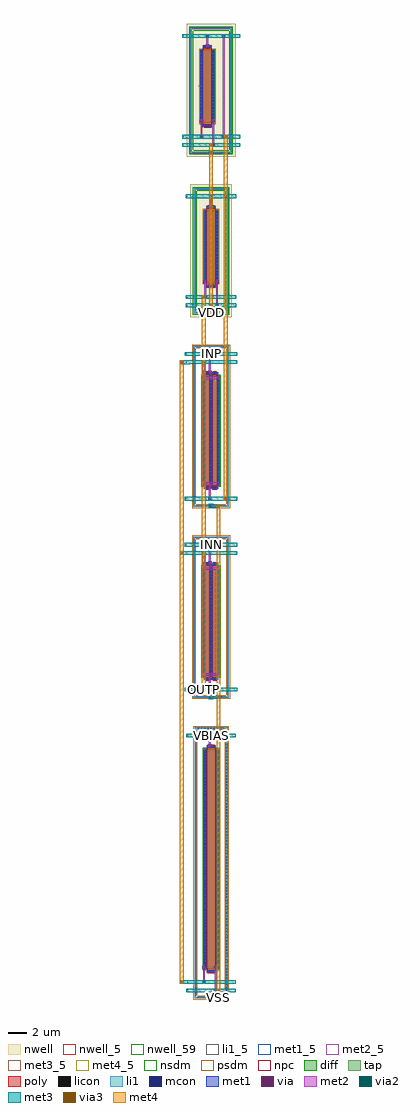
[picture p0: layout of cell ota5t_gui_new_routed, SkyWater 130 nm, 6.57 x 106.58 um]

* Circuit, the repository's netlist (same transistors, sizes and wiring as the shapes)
* Extracted by KLayout with SKY130 LVS runset on : 04/11/2026 18:48

.SUBCKT ota5t_gui_new_routed INN INP OUTP VBIAS VDD VSS sky130_gnd
M$1 \$20 \$20 VDD VDD sky130_fd_pr__pfet_01v8 L=1 W=8 AS=2.32 AD=2.32 PS=16.58
+ PD=16.58
M$2 OUTP \$20 VDD VDD sky130_fd_pr__pfet_01v8 L=1 W=8 AS=2.32 AD=2.32 PS=16.58
+ PD=16.58
M$3 \$4 INP \$20 sky130_gnd sky130_fd_pr__nfet_01v8 L=0.5 W=12 AS=3.48 AD=1.74
+ PS=24.58 PD=12.29
M$4 \$20 INP \$4 sky130_gnd sky130_fd_pr__nfet_01v8 L=0.5 W=12 AS=1.74 AD=3.48
+ PS=12.29 PD=24.58
M$5 \$4 INN OUTP sky130_gnd sky130_fd_pr__nfet_01v8 L=0.5 W=12 AS=3.48 AD=1.74
+ PS=24.58 PD=12.29
M$6 OUTP INN \$4 sky130_gnd sky130_fd_pr__nfet_01v8 L=0.5 W=12 AS=1.74 AD=3.48
+ PS=12.29 PD=24.58
M$7 \$4 VBIAS VSS sky130_gnd sky130_fd_pr__nfet_01v8 L=1 W=24 AS=6.96 AD=6.96
+ PS=48.58 PD=48.58
.ENDS ota5t_gui_new_routed

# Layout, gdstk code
import gdstk
lib = gdstk.Library(unit=1e-6, precision=1e-09)
def R(c, l, rs):  # rectangles x0, y0, x1, y1
    for r in rs: c.add(gdstk.rectangle(r[:2], r[2:], *l))
def A(c, l, x, y, w, h, nx, ny, dx, dy):  # array of equal rectangles
    R(c, l, [(x+i*dx, y+j*dy, x+i*dx+w, y+j*dy+h) for i in range(nx) for j in range(ny)])
nwell_5 = (64, 5)
nwell = (64, 20)
nwell_59 = (64, 59)
diff = (65, 20)
tap = (65, 44)
poly = (66, 20)
licon = (66, 44)
li1_5 = (67, 5)
li1 = (67, 20)
mcon = (67, 44)
met1_5 = (68, 5)
met1 = (68, 20)
via = (68, 44)
met2_5 = (69, 5)
met2 = (69, 20)
via2 = (69, 44)
met3_5 = (70, 5)
met3 = (70, 20)
via3 = (70, 44)
met4_5 = (71, 5)
met4 = (71, 20)
nsdm = (93, 44)
psdm = (94, 20)
npc = (95, 20)

sky130_fd_pr__nfet_01v8_ = lib.new_cell('sky130_fd_pr__nfet_01v8_5VM7HL')
R(sky130_fd_pr__nfet_01v8_, diff, [(-0.79,-12,0.79,12)])
R(sky130_fd_pr__nfet_01v8_, poly, [(-0.5,-12.44,0.5,12.44)])
A(sky130_fd_pr__nfet_01v8_, licon, -0.73, -11.815, 0.17, 0.17, 1, 70, 0, 0.34)
A(sky130_fd_pr__nfet_01v8_, licon, 0.56, -11.815, 0.17, 0.17, 1, 70, 0, 0.34)
R(sky130_fd_pr__nfet_01v8_, licon, [(-0.255,-12.36,-0.085,-12.19), (0.085,-12.36,0.255,-12.19), (-0.255,12.19,-0.085,12.36), (0.085,12.19,0.255,12.36)])
R(sky130_fd_pr__nfet_01v8_, li1, [(-0.5,-12.36,0.5,-12.19), (-0.73,-12.02,-0.56,12.02), (0.56,-12.02,0.73,12.02), (-0.5,12.19,0.5,12.36)])
A(sky130_fd_pr__nfet_01v8_, mcon, -0.73, -11.785, 0.17, 0.17, 1, 66, 0, 0.36)
A(sky130_fd_pr__nfet_01v8_, mcon, 0.56, -11.785, 0.17, 0.17, 1, 66, 0, 0.36)
R(sky130_fd_pr__nfet_01v8_, mcon, [(-0.265,-12.36,-0.095,-12.19), (0.095,-12.36,0.265,-12.19), (-0.265,12.19,-0.095,12.36), (0.095,12.19,0.265,12.36)])
R(sky130_fd_pr__nfet_01v8_, met1, [(-0.48,-12.39,0.48,-12.16), (-0.76,-12,-0.53,12), (0.53,-12,0.76,12), (-0.48,12.16,0.48,12.39)])
R(sky130_fd_pr__nfet_01v8_, nsdm, [(-0.915,-12.125,0.915,12.125)])
R(sky130_fd_pr__nfet_01v8_, npc, [(-0.355,-12.46,0.355,-12.09), (-0.355,12.09,0.355,12.46)])
sky130_fd_pr__nfet_01v8_.add(gdstk.Label('D', (-0.645,0), layer=67, texttype=5))
sky130_fd_pr__nfet_01v8_.add(gdstk.Label('S', (0.645,0), layer=67, texttype=5))
sky130_fd_pr__nfet_01v8_.add(gdstk.Label('G', (0,12.275), layer=67, texttype=5))

nfet_01v8_w24_l1_m1__nf1 = lib.new_cell('nfet_01v8_W24_L1_m1__nf1_gboth_sdfull_ng')
R(nfet_01v8_w24_l1_m1__nf1, nwell_59, [(0.05,12.39,0.15,12.49)])
R(nfet_01v8_w24_l1_m1__nf1, met1_5, [(0.03,12.44,0.26,12.64), (1.32,12.44,1.55,12.64), (0.31,24.6,1.27,24.83)])
R(nfet_01v8_w24_l1_m1__nf1, met1, [(0.03,12.44,0.26,12.64), (1.32,12.44,1.55,12.64), (0.31,24.6,1.27,24.83)])
nfet_01v8_w24_l1_m1__nf1.add(gdstk.Reference(sky130_fd_pr__nfet_01v8_, (0.79,12.44)))
nfet_01v8_w24_l1_m1__nf1.add(gdstk.Label('D', (0.145,12.54), layer=68, texttype=5))
nfet_01v8_w24_l1_m1__nf1.add(gdstk.Label('S', (1.435,12.54), layer=68, texttype=5))
nfet_01v8_w24_l1_m1__nf1.add(gdstk.Label('G', (0.79,24.715), layer=68, texttype=5))
nfet_01v8_w24_l1_m1__nf1.add(gdstk.Label('B', (0.1,12.44), layer=64, texttype=59))

xm5__a = lib.new_cell('XM5__A')
R(xm5__a, tap, [(-0.885,-2.785,2.715,-2.615), (-0.885,-2.615,-0.715,26.635), (2.545,-2.615,2.715,26.635), (-0.885,26.635,2.715,26.805)])
A(xm5__a, licon, -0.53, -2.785, 0.17, 0.17, 9, 2, 0.34, 29.42)
A(xm5__a, licon, -0.885, -2.355, 0.17, 0.17, 1, 85, 0, 0.34)
A(xm5__a, licon, 2.545, -2.355, 0.17, 0.17, 1, 85, 0, 0.34)
R(xm5__a, li1_5, [(0.865,-2.75,0.965,-2.65)])
R(xm5__a, li1, [(-0.885,-2.785,2.715,-2.615), (-0.885,-2.615,-0.715,26.635), (2.545,-2.615,2.715,26.635), (-0.885,26.635,2.715,26.805)])
R(xm5__a, met1, [(-0.035,0.44,0.325,0.8), (1.255,0.44,1.615,0.8), (0.61,24.63,0.97,24.99)])
R(xm5__a, via, [(0.07,0.545,0.22,0.695), (1.36,0.545,1.51,0.695), (0.715,24.735,0.865,24.885)])
R(xm5__a, met2, [(1.235,-2.1,1.635,-1.7), (1.335,-1.7,1.535,0.46), (-0.055,-1.2,0.345,-0.8), (0.045,-0.8,0.245,0.46), (0.015,0.46,0.275,0.78), (1.305,0.46,1.565,0.78), (0.66,24.65,0.92,24.97), (0.69,24.97,0.89,25.72), (0.59,25.72,0.99,26.12)])
R(xm5__a, via2, [(1.335,-2,1.535,-1.8), (0.045,-1.1,0.245,-0.9), (0.69,25.82,0.89,26.02)])
R(xm5__a, met3_5, [(-1.7,-1.95,-1.6,-1.85), (-1.7,-1.05,-1.6,-0.95), (-1.7,25.87,-1.6,25.97)])
R(xm5__a, met3, [(-1.8,-2.1,3.63,-1.7), (-1.8,-1.2,3.63,-0.8), (-1.8,25.72,3.63,26.12)])
R(xm5__a, psdm, [(-1.01,-2.91,2.84,-2.49), (-1.01,-2.49,-0.59,26.51), (2.42,-2.49,2.84,26.51), (-1.01,26.51,2.84,26.93)])
xm5__a.add(gdstk.Reference(nfet_01v8_w24_l1_m1__nf1, (0.13,0)))
xm5__a.add(gdstk.Label('net2', (-1.65,25.92), layer=70, texttype=5))
xm5__a.add(gdstk.Label('net1', (-1.65,-1), layer=70, texttype=5))
xm5__a.add(gdstk.Label('VSS', (-1.65,-1.9), layer=70, texttype=5))
xm5__a.add(gdstk.Label('VSS_body', (0.915,-2.7), layer=67, texttype=5))

c_sky130_fd_pr__nfet_01v8_ = lib.new_cell('sky130_fd_pr__nfet_01v8_BXZS2L')
R(c_sky130_fd_pr__nfet_01v8_, diff, [(-0.935,-6,0.935,6)])
R(c_sky130_fd_pr__nfet_01v8_, poly, [(-0.645,-6.44,-0.145,6.44), (0.145,-6.44,0.645,6.44)])
A(c_sky130_fd_pr__nfet_01v8_, licon, -0.875, -5.865, 0.17, 0.17, 3, 35, 0.79, 0.34)
R(c_sky130_fd_pr__nfet_01v8_, licon, [(-0.48,-6.36,-0.31,-6.19), (0.31,-6.36,0.48,-6.19), (-0.48,6.19,-0.31,6.36), (0.31,6.19,0.48,6.36)])
A(c_sky130_fd_pr__nfet_01v8_, li1, -0.875, -6.02, 0.17, 12.04, 3, 1, 0.79, 0)
R(c_sky130_fd_pr__nfet_01v8_, li1, [(-0.79,-6.36,0.79,-6.19), (-0.79,6.19,0.79,6.36)])
A(c_sky130_fd_pr__nfet_01v8_, mcon, -0.875, -5.845, 0.17, 0.17, 3, 33, 0.79, 0.36)
R(c_sky130_fd_pr__nfet_01v8_, mcon, [(-0.48,-6.36,-0.31,-6.19), (0.31,-6.36,0.48,-6.19), (-0.48,6.19,-0.31,6.36), (0.31,6.19,0.48,6.36)])
A(c_sky130_fd_pr__nfet_01v8_, met1, -0.905, -6, 0.23, 12, 3, 1, 0.79, 0)
R(c_sky130_fd_pr__nfet_01v8_, met1, [(-0.625,-6.39,-0.165,-6.36), (0.165,-6.39,0.625,-6.36), (-0.79,-6.36,0.79,-6.19), (-0.625,-6.19,-0.165,-6.16), (0.165,-6.19,0.625,-6.16), (-0.625,6.16,-0.165,6.19), (0.165,6.16,0.625,6.19), (-0.79,6.19,0.79,6.36), (-0.625,6.36,-0.165,6.39), (0.165,6.36,0.625,6.39)])
R(c_sky130_fd_pr__nfet_01v8_, nsdm, [(-1.06,-6.125,1.06,6.125)])
R(c_sky130_fd_pr__nfet_01v8_, npc, [(-0.58,-6.46,-0.21,-6.09), (0.21,-6.46,0.58,-6.09), (-0.58,6.09,-0.21,6.46), (0.21,6.09,0.58,6.46)])
c_sky130_fd_pr__nfet_01v8_.add(gdstk.Label('D0', (-0.79,0), layer=67, texttype=5))
c_sky130_fd_pr__nfet_01v8_.add(gdstk.Label('G', (0.395,6.275), layer=67, texttype=5))
c_sky130_fd_pr__nfet_01v8_.add(gdstk.Label('G', (-0.395,6.275), layer=67, texttype=5))
c_sky130_fd_pr__nfet_01v8_.add(gdstk.Label('S1', (0,0), layer=67, texttype=5))

nfet_01v8_w24_l0p5_m1__n = lib.new_cell('nfet_01v8_W24_L0p5_m1__nf2_gboth_sdfull_outS_ng')
R(nfet_01v8_w24_l0p5_m1__n, nwell_59, [(0.05,6.39,0.15,6.49)])
R(nfet_01v8_w24_l0p5_m1__n, met1_5, [(0.145,12.6,1.725,12.83)])
R(nfet_01v8_w24_l0p5_m1__n, met1, [(0.805,0.49,1.065,0.81), (0.015,12.07,0.275,12.39), (1.595,12.07,1.855,12.39), (0.145,12.6,1.725,12.83)])
R(nfet_01v8_w24_l0p5_m1__n, via, [(0.86,0.575,1.01,0.725), (0.07,12.155,0.22,12.305), (1.65,12.155,1.8,12.305)])
R(nfet_01v8_w24_l0p5_m1__n, met2_5, [(0.01,0.49,1.86,0.81), (0.01,12.07,1.86,12.39)])
R(nfet_01v8_w24_l0p5_m1__n, met2, [(0.01,0.49,1.86,0.81), (0.01,12.07,1.86,12.39)])
nfet_01v8_w24_l0p5_m1__n.add(gdstk.Reference(c_sky130_fd_pr__nfet_01v8_, (0.935,6.44)))
nfet_01v8_w24_l0p5_m1__n.add(gdstk.Label('S', (0.935,12.23), layer=69, texttype=5))
nfet_01v8_w24_l0p5_m1__n.add(gdstk.Label('D', (0.935,0.65), layer=69, texttype=5))
nfet_01v8_w24_l0p5_m1__n.add(gdstk.Label('G', (0.935,12.715), layer=68, texttype=5))
nfet_01v8_w24_l0p5_m1__n.add(gdstk.Label('B', (0.1,6.44), layer=64, texttype=59))

xm2__a = lib.new_cell('XM2__A')
R(xm2__a, tap, [(-0.885,-1.885,3.005,-1.715), (-0.885,-1.715,-0.715,15.535), (2.835,-1.715,3.005,15.535), (-0.885,15.535,3.005,15.705)])
A(xm2__a, licon, -0.555, -1.885, 0.17, 0.17, 10, 2, 0.34, 17.42)
A(xm2__a, licon, -0.885, -1.505, 0.17, 0.17, 1, 50, 0, 0.34)
A(xm2__a, licon, 2.835, -1.505, 0.17, 0.17, 1, 50, 0, 0.34)
R(xm2__a, li1_5, [(1.01,-1.85,1.11,-1.75)])
R(xm2__a, li1, [(-0.885,-1.885,3.005,-1.715), (-0.885,-1.715,-0.715,15.535), (2.835,-1.715,3.005,15.535), (-0.885,15.535,3.005,15.705)])
R(xm2__a, met1, [(0.755,12.63,1.115,12.99)])
R(xm2__a, via, [(0.86,12.735,1.01,12.885)])
R(xm2__a, met2, [(0.735,-1.2,1.135,-0.8), (0.835,-0.8,1.035,0.59), (0.17,12.29,0.37,13.72), (0.805,12.65,1.065,12.97), (0.835,12.97,1.035,14.62), (0.07,13.72,0.47,14.12), (0.735,14.62,1.135,15.02)])
R(xm2__a, via2, [(0.835,-1.1,1.035,-0.9), (0.17,13.82,0.37,14.02), (0.835,14.72,1.035,14.92)])
R(xm2__a, met3_5, [(-1.7,-1.05,-1.6,-0.95), (-1.7,13.87,-1.6,13.97), (-1.7,14.77,-1.6,14.87)])
R(xm2__a, met3, [(-1.8,-1.2,3.92,-0.8), (-1.8,13.72,3.92,14.12), (-1.8,14.62,3.92,15.02)])
R(xm2__a, psdm, [(-1.01,-2.01,3.13,-1.59), (-1.01,-1.59,-0.59,15.41), (2.71,-1.59,3.13,15.41), (-1.01,15.41,3.13,15.83)])
xm2__a.add(gdstk.Reference(nfet_01v8_w24_l0p5_m1__n, (0.13,0)))
xm2__a.add(gdstk.Label('net1', (-1.65,13.92), layer=70, texttype=5))
xm2__a.add(gdstk.Label('INN', (-1.65,14.82), layer=70, texttype=5))
xm2__a.add(gdstk.Label('OUTP', (-1.65,-1), layer=70, texttype=5))
xm2__a.add(gdstk.Label('VSS_body', (1.06,-1.8), layer=67, texttype=5))

xm1__a = lib.new_cell('XM1__A')
R(xm1__a, tap, [(-0.885,-1.885,3.005,-1.715), (-0.885,-1.715,-0.715,15.535), (2.835,-1.715,3.005,15.535), (-0.885,15.535,3.005,15.705)])
A(xm1__a, licon, -0.555, -1.885, 0.17, 0.17, 10, 2, 0.34, 17.42)
A(xm1__a, licon, -0.885, -1.505, 0.17, 0.17, 1, 50, 0, 0.34)
A(xm1__a, licon, 2.835, -1.505, 0.17, 0.17, 1, 50, 0, 0.34)
R(xm1__a, li1_5, [(1.01,-1.85,1.11,-1.75)])
R(xm1__a, li1, [(-0.885,-1.885,3.005,-1.715), (-0.885,-1.715,-0.715,15.535), (2.835,-1.715,3.005,15.535), (-0.885,15.535,3.005,15.705)])
R(xm1__a, met1, [(0.755,12.63,1.115,12.99)])
R(xm1__a, via, [(0.86,12.735,1.01,12.885)])
R(xm1__a, met2, [(0.735,-1.2,1.135,-0.8), (0.835,-0.8,1.035,0.59), (0.17,12.29,0.37,13.72), (0.805,12.65,1.065,12.97), (0.835,12.97,1.035,14.62), (0.07,13.72,0.47,14.12), (0.735,14.62,1.135,15.02)])
R(xm1__a, via2, [(0.835,-1.1,1.035,-0.9), (0.17,13.82,0.37,14.02), (0.835,14.72,1.035,14.92)])
R(xm1__a, met3_5, [(-1.7,-1.05,-1.6,-0.95), (-1.7,13.87,-1.6,13.97), (-1.7,14.77,-1.6,14.87)])
R(xm1__a, met3, [(-1.8,-1.2,3.92,-0.8), (-1.8,13.72,3.92,14.12), (-1.8,14.62,3.92,15.02)])
R(xm1__a, psdm, [(-1.01,-2.01,3.13,-1.59), (-1.01,-1.59,-0.59,15.41), (2.71,-1.59,3.13,15.41), (-1.01,15.41,3.13,15.83)])
xm1__a.add(gdstk.Reference(nfet_01v8_w24_l0p5_m1__n, (0.13,0)))
xm1__a.add(gdstk.Label('net1', (-1.65,13.92), layer=70, texttype=5))
xm1__a.add(gdstk.Label('INP', (-1.65,14.82), layer=70, texttype=5))
xm1__a.add(gdstk.Label('net3', (-1.65,-1), layer=70, texttype=5))
xm1__a.add(gdstk.Label('VSS_body', (1.06,-1.8), layer=67, texttype=5))

sky130_fd_pr__pfet_01v8_ = lib.new_cell('sky130_fd_pr__pfet_01v8_8HDVAE')
R(sky130_fd_pr__pfet_01v8_, nwell, [(-0.97,-4.5,0.97,4.5)])
R(sky130_fd_pr__pfet_01v8_, diff, [(-0.79,-4,0.79,4)])
R(sky130_fd_pr__pfet_01v8_, poly, [(-0.5,-4.485,0.5,4.485)])
A(sky130_fd_pr__pfet_01v8_, licon, -0.73, -3.825, 0.17, 0.17, 1, 23, 0, 0.34)
A(sky130_fd_pr__pfet_01v8_, licon, 0.56, -3.825, 0.17, 0.17, 1, 23, 0, 0.34)
R(sky130_fd_pr__pfet_01v8_, licon, [(-0.255,-4.405,-0.085,-4.235), (0.085,-4.405,0.255,-4.235), (-0.255,4.235,-0.085,4.405), (0.085,4.235,0.255,4.405)])
R(sky130_fd_pr__pfet_01v8_, li1, [(-0.5,-4.405,0.5,-4.235), (-0.73,-4.02,-0.56,4.02), (0.56,-4.02,0.73,4.02), (-0.5,4.235,0.5,4.405)])
A(sky130_fd_pr__pfet_01v8_, mcon, -0.73, -3.865, 0.17, 0.17, 1, 22, 0, 0.36)
A(sky130_fd_pr__pfet_01v8_, mcon, 0.56, -3.865, 0.17, 0.17, 1, 22, 0, 0.36)
R(sky130_fd_pr__pfet_01v8_, mcon, [(-0.265,-4.405,-0.095,-4.235), (0.095,-4.405,0.265,-4.235), (-0.265,4.235,-0.095,4.405), (0.095,4.235,0.265,4.405)])
R(sky130_fd_pr__pfet_01v8_, met1, [(-0.48,-4.435,0.48,-4.205), (-0.76,-4,-0.53,4), (0.53,-4,0.76,4), (-0.48,4.205,0.48,4.435)])
R(sky130_fd_pr__pfet_01v8_, psdm, [(-0.915,-4.125,0.915,4.125)])
R(sky130_fd_pr__pfet_01v8_, npc, [(-0.355,-4.505,0.355,-4.135), (-0.355,4.135,0.355,4.505)])
sky130_fd_pr__pfet_01v8_.add(gdstk.Label('D', (-0.645,0), layer=67, texttype=5))
sky130_fd_pr__pfet_01v8_.add(gdstk.Label('S', (0.645,0), layer=67, texttype=5))
sky130_fd_pr__pfet_01v8_.add(gdstk.Label('G', (0,4.32), layer=67, texttype=5))

pfet_01v8_w8_l1_m1__nf1_ = lib.new_cell('pfet_01v8_W8_L1_m1__nf1_gboth_sdfull_ng')
R(pfet_01v8_w8_l1_m1__nf1_, nwell_5, [(0.05,4.45,0.15,4.55)])
R(pfet_01v8_w8_l1_m1__nf1_, nwell, [(0.05,4.45,0.15,4.55)])
R(pfet_01v8_w8_l1_m1__nf1_, met1_5, [(0.21,4.5,0.44,4.7), (1.5,4.5,1.73,4.7), (0.49,8.705,1.45,8.935)])
R(pfet_01v8_w8_l1_m1__nf1_, met1, [(0.21,4.5,0.44,4.7), (1.5,4.5,1.73,4.7), (0.49,8.705,1.45,8.935)])
pfet_01v8_w8_l1_m1__nf1_.add(gdstk.Reference(sky130_fd_pr__pfet_01v8_, (0.97,4.5)))
pfet_01v8_w8_l1_m1__nf1_.add(gdstk.Label('D', (0.325,4.6), layer=68, texttype=5))
pfet_01v8_w8_l1_m1__nf1_.add(gdstk.Label('S', (1.615,4.6), layer=68, texttype=5))
pfet_01v8_w8_l1_m1__nf1_.add(gdstk.Label('G', (0.97,8.82), layer=68, texttype=5))
pfet_01v8_w8_l1_m1__nf1_.add(gdstk.Label('B', (0.1,4.5), layer=64, texttype=5))

xm4__a = lib.new_cell('XM4__A')
R(xm4__a, nwell, [(-1.3,-3.2,3.24,11.31)])
R(xm4__a, tap, [(-0.885,-2.785,2.825,-2.615), (-0.885,-2.615,-0.715,10.725), (2.655,-2.615,2.825,10.725), (-0.885,10.725,2.825,10.895)])
A(xm4__a, licon, -0.475, -2.785, 0.17, 0.17, 9, 2, 0.34, 13.51)
A(xm4__a, licon, -0.885, -2.32, 0.17, 0.17, 1, 38, 0, 0.34)
A(xm4__a, licon, 2.655, -2.32, 0.17, 0.17, 1, 38, 0, 0.34)
R(xm4__a, li1_5, [(0.92,-2.75,1.02,-2.65)])
R(xm4__a, li1, [(-0.885,-2.785,2.825,-2.615), (-0.885,-2.615,-0.715,10.725), (2.655,-2.615,2.825,10.725), (-0.885,10.725,2.825,10.895)])
R(xm4__a, met1, [(0.145,0.5,0.505,0.86), (1.435,0.5,1.795,0.86), (0.79,8.735,1.15,9.095)])
R(xm4__a, via, [(0.25,0.605,0.4,0.755), (1.54,0.605,1.69,0.755), (0.895,8.84,1.045,8.99)])
R(xm4__a, met2, [(1.415,-2.1,1.815,-1.7), (1.515,-1.7,1.715,0.52), (0.125,-1.2,0.525,-0.8), (0.225,-0.8,0.425,0.52), (0.195,0.52,0.455,0.84), (1.485,0.52,1.745,0.84), (0.84,8.755,1.1,9.075), (0.87,9.075,1.07,9.81), (0.77,9.81,1.17,10.21)])
R(xm4__a, via2, [(1.515,-2,1.715,-1.8), (0.225,-1.1,0.425,-0.9), (0.87,9.91,1.07,10.11)])
R(xm4__a, met3_5, [(-1.7,-1.95,-1.6,-1.85), (-1.7,-1.05,-1.6,-0.95), (-1.7,9.96,-1.6,10.06)])
R(xm4__a, met3, [(-1.8,-2.1,3.74,-1.7), (-1.8,-1.2,3.74,-0.8), (-1.8,9.81,3.74,10.21)])
R(xm4__a, nsdm, [(-1.01,-2.91,2.95,-2.49), (-1.01,-2.49,-0.59,10.6), (2.53,-2.49,2.95,10.6), (-1.01,10.6,2.95,11.02)])
xm4__a.add(gdstk.Reference(pfet_01v8_w8_l1_m1__nf1_, (0,0)))
xm4__a.add(gdstk.Label('net3', (-1.65,10.01), layer=70, texttype=5))
xm4__a.add(gdstk.Label('OUTP', (-1.65,-1), layer=70, texttype=5))
xm4__a.add(gdstk.Label('VDD', (-1.65,-1.9), layer=70, texttype=5))
xm4__a.add(gdstk.Label('VDD_body', (0.97,-2.7), layer=67, texttype=5))

xm3__a = lib.new_cell('XM3__A')
R(xm3__a, nwell, [(-1.3,-3.2,4.04,11.31)])
R(xm3__a, tap, [(-0.885,-2.785,3.625,-2.615), (-0.885,-2.615,-0.715,10.725), (3.455,-2.615,3.625,10.725), (-0.885,10.725,3.625,10.895)])
A(xm3__a, licon, -0.585, -2.785, 0.17, 0.17, 12, 2, 0.34, 13.51)
A(xm3__a, licon, -0.885, -2.32, 0.17, 0.17, 1, 38, 0, 0.34)
A(xm3__a, licon, 3.455, -2.32, 0.17, 0.17, 1, 38, 0, 0.34)
R(xm3__a, li1_5, [(1.32,-2.75,1.42,-2.65)])
R(xm3__a, li1, [(-0.885,-2.785,3.625,-2.615), (-0.885,-2.615,-0.715,10.725), (3.455,-2.615,3.625,10.725), (-0.885,10.725,3.625,10.895)])
R(xm3__a, met1, [(0.145,0.5,0.505,0.86), (1.435,0.5,1.795,0.86), (0.79,8.735,1.15,9.095)])
R(xm3__a, via, [(0.25,0.605,0.4,0.755), (1.54,0.605,1.69,0.755), (0.895,8.84,1.045,8.99)])
R(xm3__a, met2, [(1.415,-2.1,1.815,-1.7), (1.515,-1.7,1.715,0.52), (0.125,-1.2,0.525,-0.8), (2.54,-1.2,2.94,-0.8), (0.225,-0.8,0.425,0.52), (2.64,-0.8,2.84,9.81), (0.195,0.52,0.455,0.84), (1.485,0.52,1.745,0.84), (0.84,8.755,1.1,9.075), (0.87,9.075,1.07,9.81), (0.77,9.81,1.17,10.21), (2.54,9.81,2.94,10.21)])
R(xm3__a, via2, [(1.515,-2,1.715,-1.8), (0.225,-1.1,0.425,-0.9), (2.64,-1.1,2.84,-0.9), (0.87,9.91,1.07,10.11), (2.64,9.91,2.84,10.11)])
R(xm3__a, met3_5, [(-1.7,-1.95,-1.6,-1.85), (-1.7,-1.05,-1.6,-0.95), (-1.7,9.96,-1.6,10.06)])
R(xm3__a, met3, [(-1.8,-2.1,4.54,-1.7), (-1.8,-1.2,4.54,-0.8), (-1.8,9.81,4.54,10.21)])
R(xm3__a, nsdm, [(-1.01,-2.91,3.75,-2.49), (-1.01,-2.49,-0.59,10.6), (3.33,-2.49,3.75,10.6), (-1.01,10.6,3.75,11.02)])
xm3__a.add(gdstk.Reference(pfet_01v8_w8_l1_m1__nf1_, (0,0)))
xm3__a.add(gdstk.Label('net3', (-1.65,10.01), layer=70, texttype=5))
xm3__a.add(gdstk.Label('net3', (-1.65,-1), layer=70, texttype=5))
xm3__a.add(gdstk.Label('VDD', (-1.65,-1.9), layer=70, texttype=5))
xm3__a.add(gdstk.Label('VDD_body', (1.37,-2.7), layer=67, texttype=5))

ota5t_gui_new_routed = lib.new_cell('ota5t_gui_new_routed')
R(ota5t_gui_new_routed, li1, [(-0.25,-106.58,0.25,-106.08), (-0.25,-73.74,0.25,-73.24), (-0.25,-52.9,0.25,-52.4), (-0.25,-31.77,0.25,-31.27), (-0.25,-14.26,0.25,-13.76)])
R(ota5t_gui_new_routed, mcon, [(-0.085,-106.415,0.085,-106.245), (-0.085,-73.575,0.085,-73.405), (-0.085,-52.735,0.085,-52.565), (-0.085,-31.605,0.085,-31.435), (-0.085,-14.095,0.085,-13.925)])
R(ota5t_gui_new_routed, met1, [(-0.17,-106.5,0.17,-106.16), (-0.17,-73.66,0.17,-73.32), (-0.17,-52.82,0.17,-52.48), (-0.17,-31.69,0.17,-31.35), (-0.17,-14.18,0.17,-13.84)])
R(ota5t_gui_new_routed, via, [(-0.075,-106.405,0.075,-106.255), (-0.075,-73.565,0.075,-73.415), (-0.075,-52.725,0.075,-52.575), (-0.075,-31.595,0.075,-31.445), (-0.075,-14.085,0.075,-13.935)])
R(ota5t_gui_new_routed, met2, [(-0.2,-106.53,0.2,-106.13), (-0.2,-73.69,0.2,-73.29), (-0.2,-52.85,0.2,-52.45), (-0.2,-31.72,0.2,-31.32), (-0.2,-14.21,0.2,-13.81)])
R(ota5t_gui_new_routed, via2, [(-0.1,-106.43,0.1,-106.23), (-0.1,-73.59,0.1,-73.39), (-0.1,-52.75,0.1,-52.55), (-0.1,-31.62,0.1,-31.42), (-0.1,-14.11,0.1,-13.91)])
A(ota5t_gui_new_routed, met3, -0.2, -77.91, 0.4, 0.4, 1, 3, 0, 20.84)
R(ota5t_gui_new_routed, met3, [(-0.25,-106.58,0.25,-106.53), (-0.25,-106.53,1,-106.13), (-0.25,-106.13,0.25,-106.08), (0.6,-105.73,1,-105.33), (-3.4,-104.83,-2.115,-104.43), (-0.25,-73.74,0.25,-73.69), (-0.25,-73.69,1,-73.29), (-0.25,-73.29,0.25,-73.24), (-1,-72.89,-0.6,-72.49), (-3.4,-57.97,-2.26,-57.57), (-0.25,-52.9,0.25,-52.85), (-0.25,-52.85,1,-52.45), (-0.25,-52.45,0.25,-52.4), (1.4,-52.05,1.8,-51.65), (-3.4,-37.13,-2.26,-36.73), (-0.25,-31.77,0.25,-31.27), (-0.2,-30.92,0.2,-30.52), (-1,-30.02,-0.6,-29.62), (1.4,-19.01,1.8,-18.61), (-0.25,-14.26,0.25,-13.76), (-0.2,-13.41,0.2,-13.01), (1.4,-12.51,1.8,-12.11)])
A(ota5t_gui_new_routed, via3, -0.1, -77.81, 0.2, 0.2, 1, 3, 0, 20.84)
R(ota5t_gui_new_routed, via3, [(0.7,-106.43,0.9,-106.23), (0.7,-105.63,0.9,-105.43), (-3.3,-104.73,-3.1,-104.53), (0.7,-73.59,0.9,-73.39), (-0.9,-72.79,-0.7,-72.59), (-3.3,-57.87,-3.1,-57.67), (0.7,-52.75,0.9,-52.55), (1.5,-51.95,1.7,-51.75), (-3.3,-37.03,-3.1,-36.83), (-0.1,-31.62,0.1,-31.42), (-0.1,-30.82,0.1,-30.62), (-0.9,-29.92,-0.7,-29.72), (1.5,-18.91,1.7,-18.71), (-0.1,-14.11,0.1,-13.91), (-0.1,-13.31,0.1,-13.11), (1.5,-12.41,1.7,-12.21)])
A(ota5t_gui_new_routed, met4_5, -0.05, -77.76, 0.1, 0.1, 1, 3, 0, 20.84)
R(ota5t_gui_new_routed, met4_5, [(0.75,-106.38,0.85,-106.28), (-0.85,-72.74,-0.75,-72.64), (-0.05,-31.57,0.05,-31.47)])
A(ota5t_gui_new_routed, met4, -0.2, -78.06, 0.4, 0.7, 1, 3, 0, 20.84)
R(ota5t_gui_new_routed, met4, [(0.6,-106.53,1,-52.45), (-3.4,-104.83,-3,-36.73), (-1,-72.89,-0.6,-29.62), (1.4,-52.05,1.8,-12.11), (-0.2,-31.72,0.2,-13.01)])
ota5t_gui_new_routed.add(gdstk.Reference(xm5__a, (-0.915,-103.625)))
ota5t_gui_new_routed.add(gdstk.Reference(xm2__a, (-1.06,-71.685)))
ota5t_gui_new_routed.add(gdstk.Reference(xm1__a, (-1.06,-50.845)))
ota5t_gui_new_routed.add(gdstk.Reference(xm4__a, (-0.97,-28.82)))
ota5t_gui_new_routed.add(gdstk.Reference(xm3__a, (-1.37,-11.31)))
ota5t_gui_new_routed.add(gdstk.Label('OUTP', (-0.8,-72.69), layer=71, texttype=5))
ota5t_gui_new_routed.add(gdstk.Label('INN', (0,-56.87), layer=71, texttype=5))
ota5t_gui_new_routed.add(gdstk.Label('INP', (0,-36.03), layer=71, texttype=5))
ota5t_gui_new_routed.add(gdstk.Label('VBIAS', (0,-77.71), layer=71, texttype=5))
ota5t_gui_new_routed.add(gdstk.Label('VDD', (0,-31.52), layer=71, texttype=5))
ota5t_gui_new_routed.add(gdstk.Label('VSS', (0.8,-106.33), layer=71, texttype=5))

lib.write_gds('ota5t_gui_new_routed.gds')
